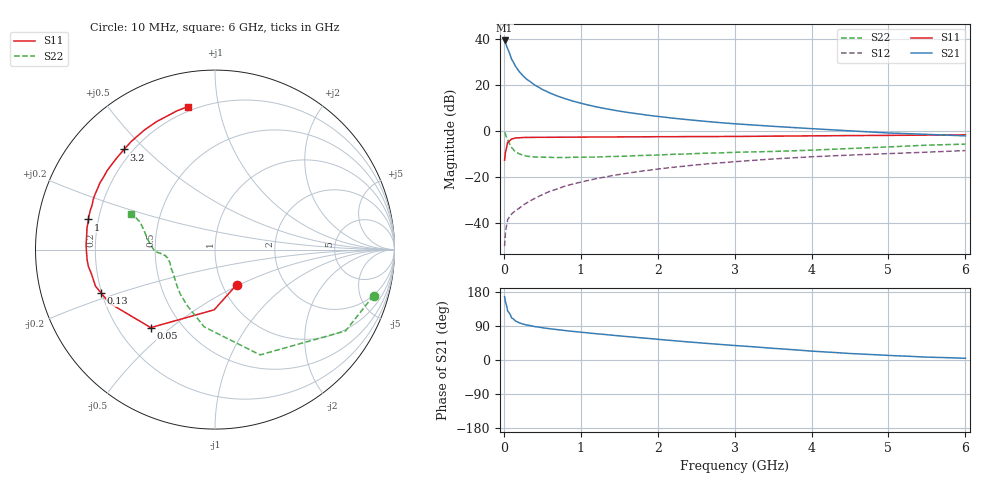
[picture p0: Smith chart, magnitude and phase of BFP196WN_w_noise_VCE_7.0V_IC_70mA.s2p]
! Infineon Technologies  Discrete & RF Semiconductors
! BFP196WN
! VCE =  7.0 V,  IC =  70 mA
! Common Emitter S-Parameters:  Jan 2017
# GHz  S  MA  R  50
!  f  S11  S21  S12  S22
! GHz  MAG  ANG  MAG  ANG  MAG  ANG  MAG  ANG
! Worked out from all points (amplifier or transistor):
!   77 points, 10 MHz to 6 GHz, reference 50 ohm
!   highest |S21| = 39.2 dB at 10 MHz (marker M1)
!   |S21| within 3 dB of that: start of sweep to 42.54 MHz
!   unconditionally stable (mu >= 1): 576.5 MHz to 2.562 GHz
!   at 130 MHz: K = 0.61, MSG = 32.4 dB, |S12| = -35.3 dB
!   at 2.2 GHz: K = 1.02, MAG = 9.9 dB, |S12| = -15.9 dB
!   at 6 GHz: K = 0.91, MSG = 3.2 dB, |S12| = -8.6 dB
!   lowest NFmin = 1.47 dB at 450 MHz
!   S11 on the Smith chart (normalised r, x): 10 MHz: 1.17, -0.48; 50 MHz: 0.34, -0.43; 130 MHz: 0.20, -0.18; 1 GHz: 0.16, +0.11; 3.2 GHz: 0.17, +0.43; 6 GHz: 0.17, +0.81
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0.01  0.23 -58.3  91.28 167.0  0.0031 81.6  0.9196 -16.2
0.02  0.3356 -90.8  82.97 154.2  0.0059 72.4  0.8571 -31.9
0.05  0.5633 -129.5  60.16 129.2  0.0117 53.9  0.6382 -66.8
0.1  0.6594 -153.1  35.99 111.3  0.0154 51.6  0.4344 -98.0
0.13  0.6791 -159.2  29.48 107.1  0.0171 52.2  0.3786 -107.9
0.15  0.6962 -163.0  25.26 103.1  0.0182 52.5  0.3493 -116.1
0.2  0.7014 -168.8  19.24 98.2  0.0207 56.5  0.3137 -128.2
0.25  0.7113 -172.3  15.53 94.8  0.0241 58.5  0.2935 -136.0
0.3  0.7145 -175.2  13.01 92.3  0.0272 61.5  0.2791 -142.6
0.4  0.7166 -179.4  9.836 88.2  0.0337 65.5  0.2686 -150.4
0.5  0.7185 177.6  7.88 85.2  0.0408 67.7  0.2659 -156.1
0.6  0.7189 174.8  6.582 82.4  0.0482 68.4  0.2639 -160.2
0.8  0.7233 170.4  4.936 77.6  0.0629 70.2  0.2619 -164.7
1  0.7255 166.6  3.954 73.4  0.0762 70.0  0.2655 -168.3
1.1  0.727 164.7  3.601 71.4  0.0835 70.0  0.2666 -169.4
1.5  0.7329 158.0  2.661 63.7  0.1118 68.1  0.2769 -173.2
2.1  0.7407 148.4  1.956 52.9  0.1534 64.0  0.3016 -175.8
3.1  0.7516 133.6  1.378 36.9  0.2179 55.7  0.3424 179.8
3.2  0.7534 132.2  1.344 35.5  0.2242 54.9  0.3452 179.1
4.1  0.775 119.4  1.084 22.2  0.2758 47.2  0.3838 170.2
5.1  0.7928 108.6  0.88 11.2  0.3224 39.6  0.4524 159.3
6  0.8107 100.8  0.771 4.6  0.3697 33.6  0.5113 156.9
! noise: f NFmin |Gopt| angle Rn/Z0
0.45  1.47  0.57  -176  0.05
0.9  1.6  0.58  -169  0.06
1.9  2.54  0.7  -147  0.19
2.4  3.34  0.71  -139  0.32
